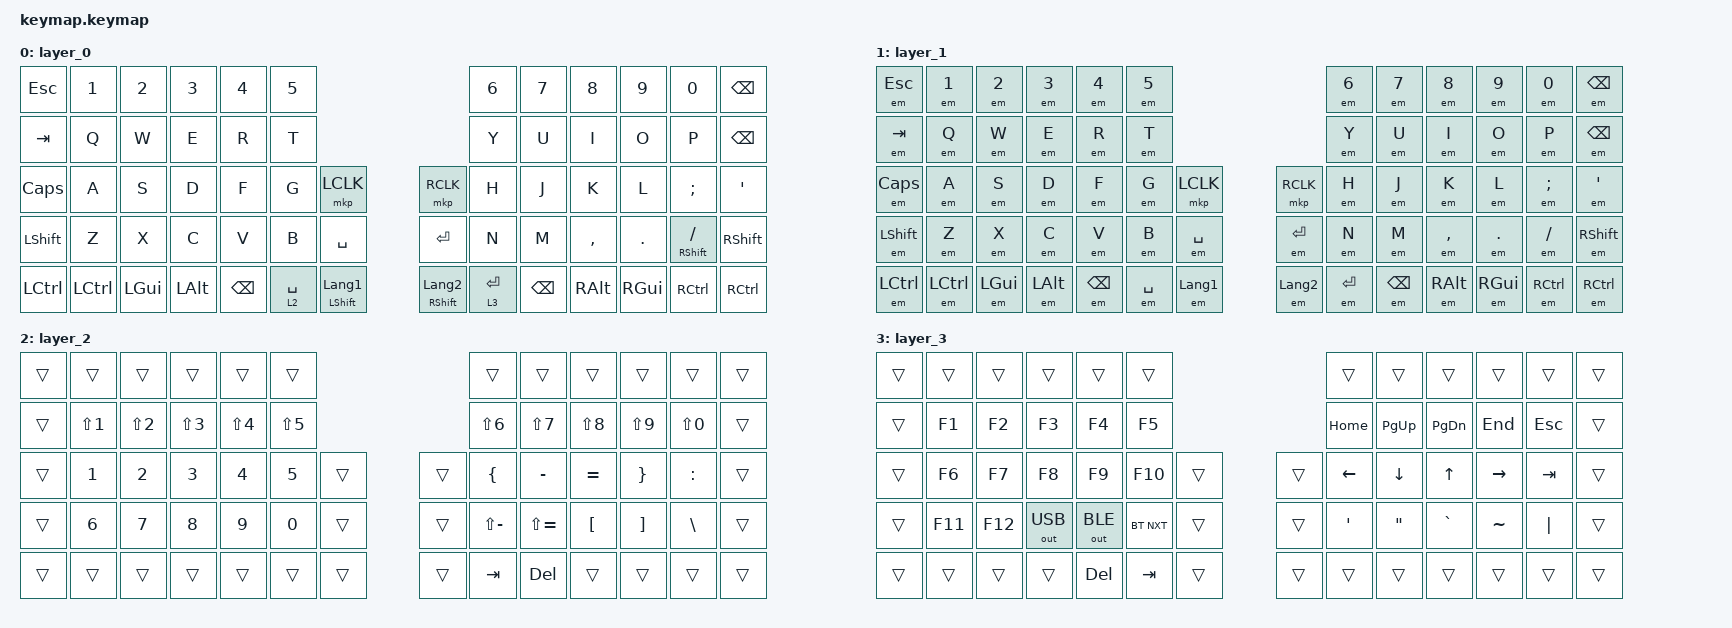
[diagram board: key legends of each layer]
#include <behaviors.dtsi>
#include <dt-bindings/zmk/bt.h>
#include <dt-bindings/zmk/keys.h>
#include <dt-bindings/zmk/outputs.h>
#include <dt-bindings/zmk/pointing.h>

/ {
    behaviors {
        em: exit_mouse {
            compatible = "zmk,behavior-macro-one-param";
            #binding-cells = <1>;
            bindings
                = <&macro_tap &to 0>
                , <&macro_param_1to1>
                , <&macro_tap &kp MACRO_PLACEHOLDER>;
        };
    };

    combos {
        compatible = "zmk,combos";

        bt_clear {
            bindings = <&bt BT_CLR>;
            key-positions = <28 29>;
            layers = <2>;
        };
    };

    keymap {
        compatible = "zmk,keymap";

        layer_0 {
            bindings = <
&kp ESC    &kp N1     &kp N2    &kp N3    &kp N4    &kp N5                                                         &kp N6       &kp N7    &kp N8     &kp N9    &kp N0                &kp BSPC
&kp TAB    &kp Q      &kp W     &kp E     &kp R     &kp T                                                          &kp Y        &kp U     &kp I      &kp O     &kp P                 &kp BSPC
&kp CAPS   &kp A      &kp S     &kp D     &kp F     &kp G        &mkp LCLK                  &mkp RCLK              &kp H        &kp J     &kp K      &kp L     &kp SEMI              &kp SQT
&kp LSHFT  &kp Z      &kp X     &kp C     &kp V     &kp B        &kp SPACE                  &kp RET                &kp N        &kp M     &kp COMMA  &kp DOT   &mt RIGHT_SHIFT FSLH  &kp RSHFT
&kp LCTRL  &kp LCTRL  &kp LGUI  &kp LALT  &kp BSPC  &lt 2 SPACE  &mt LEFT_SHIFT LANGUAGE_1  &mt RSHIFT LANGUAGE_2  &lt 3 ENTER  &kp BSPC  &kp RALT   &kp RGUI  &kp RCTRL             &kp RCTRL
            >;
        };

        layer_1 {
            bindings = <
&em ESC    &em N1     &em N2    &em N3    &em N4    &em N5                                                         &em N6      &em N7    &em N8     &em N9    &em N0    &em BSPC
&em TAB    &em Q      &em W     &em E     &em R     &em T                                                          &em Y       &em U     &em I      &em O     &em P     &em BSPC
&em CAPS   &em A      &em S     &em D     &em F     &em G        &mkp LCLK                  &mkp RCLK              &em H       &em J     &em K      &em L     &em SEMI  &em SQT
&em LSHFT  &em Z      &em X     &em C     &em V     &em B        &em SPACE                  &em RET                &em N       &em M     &em COMMA  &em DOT   &em FSLH  &em RSHFT
&em LCTRL  &em LCTRL  &em LGUI  &em LALT  &em BSPC  &em SPACE    &em LANGUAGE_1             &em LANGUAGE_2         &em ENTER   &em BSPC  &em RALT   &em RGUI  &em RCTRL &em RCTRL
            >;
        };

        layer_2 {
            bindings = <
&trans  &trans            &trans            &trans      &trans      &trans                      &trans          &trans         &trans            &trans             &trans         &trans
&trans  &kp LS(NUMBER_1)  &kp LS(NUMBER_2)  &kp LS(N3)  &kp LS(N4)  &kp LS(N5)                  &kp LS(N6)      &kp LS(N7)     &kp LS(N8)        &kp LS(N9)         &kp LS(N0)     &trans
&trans  &kp N1            &kp N2            &kp N3      &kp N4      &kp N5      &trans  &trans  &kp LEFT_BRACE  &kp MINUS      &kp EQUAL         &kp RIGHT_BRACE    &kp COLON      &trans
&trans  &kp N6            &kp N7            &kp N8      &kp N9      &kp N0      &trans  &trans  &kp LS(MINUS)   &kp LS(EQUAL)  &kp LEFT_BRACKET  &kp RIGHT_BRACKET  &kp BACKSLASH  &trans
&trans  &trans            &trans            &trans      &trans      &trans      &trans  &trans  &kp TAB         &kp DEL        &trans            &trans             &trans         &trans
            >;
        };

        layer_3 {
            bindings = <
&trans  &trans   &trans   &trans        &trans        &trans                      &trans            &trans     &trans         &trans     &trans      &trans
&trans  &kp F1   &kp F2   &kp F3        &kp F4        &kp F5                      &kp HOME          &kp PG_UP  &kp PAGE_DOWN  &kp END    &kp ESCAPE  &trans
&trans  &kp F6   &kp F7   &kp F8        &kp F9        &kp F10     &trans  &trans  &kp LEFT          &kp DOWN   &kp UP_ARROW   &kp RIGHT  &kp TAB     &trans
&trans  &kp F11  &kp F12  &out OUT_USB  &out OUT_BLE  &bt BT_NXT  &trans  &trans  &kp SINGLE_QUOTE  &kp DQT    &kp GRAVE      &kp TILDE  &kp PIPE    &trans
&trans  &trans   &trans   &trans        &kp DELETE    &kp TAB     &trans  &trans  &trans            &trans     &trans         &trans     &trans      &trans
            >;
        };
    };
};
